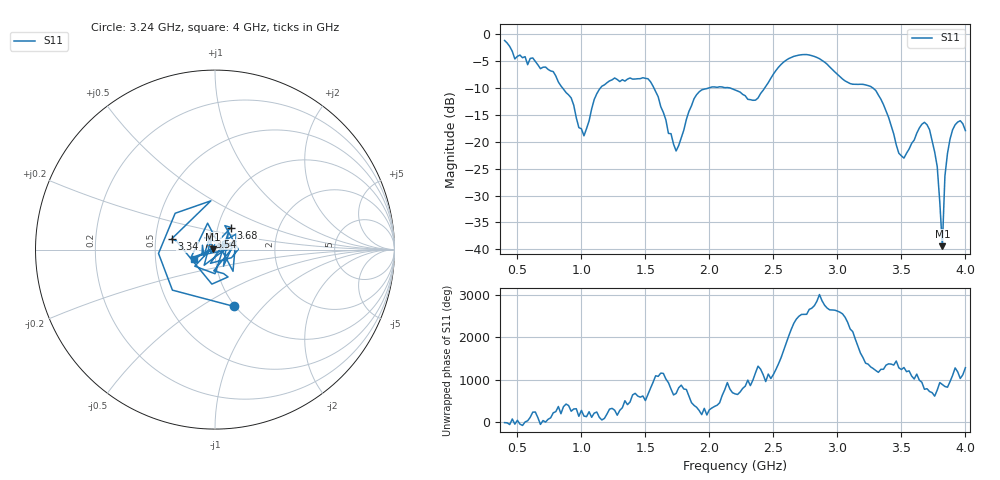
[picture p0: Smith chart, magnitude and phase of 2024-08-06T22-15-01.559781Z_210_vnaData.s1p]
!Created with skrf (http://scikit-rf.org).
# Hz S RI R 50.0
!freq ReS11 ImS11
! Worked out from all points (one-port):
!   181 points, 400 MHz to 4 GHz, reference 50 ohm
!   lowest |S11| = -39.4 dB at 3.82 GHz (marker M1), VSWR 1.02, Z = 49 + j0.221 ohm
!   |S11| at or under -10 dB: 853.7 MHz to 1.148 GHz (294.1 MHz wide, 29.4 % of centre); 1.567 GHz to 1.991 GHz (423.7 MHz wide, 23.8 % of centre); 3.279 GHz to end of sweep (the widest 3 of 4)
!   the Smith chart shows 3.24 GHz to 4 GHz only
!   S11 on the Smith chart (normalised r, x): 3.24 GHz: 0.99, -0.70; 3.34 GHz: 0.61, +0.08; 3.54 GHz: 0.94, +0.14; 3.68 GHz: 1.16, +0.29; 4 GHz: 0.79, -0.08
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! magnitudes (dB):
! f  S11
! 400 MHz  -1.1
! 480 MHz  -4.6
! 860 MHz  -10.2
! 1.02 GHz  -18.9
! 1.14 GHz  -10.2
! 1.3 GHz  -8.8
! 1.52 GHz  -8.3
! 1.74 GHz  -21.7
! 1.76 GHz  -20.7
! 1.92 GHz  -10.7
! 2.2 GHz  -10.3
! 2.36 GHz  -12.2
! 2.66 GHz  -4.1
! 2.86 GHz  -4.5
! 3.1 GHz  -9.2
! 3.24 GHz  -9.5
! 3.34 GHz  -12.1
! 3.48 GHz  -22.1
! 3.54 GHz  -22.1
! 3.56 GHz  -21.4
! 3.68 GHz  -16.4
! 3.72 GHz  -17.7
! 3.78 GHz  -24.6
! 3.82 GHz  -39.4
! 3.84 GHz  -26.4
! 3.88 GHz  -19.5
! 3.94 GHz  -16.3
! 4 GHz  -17.9
